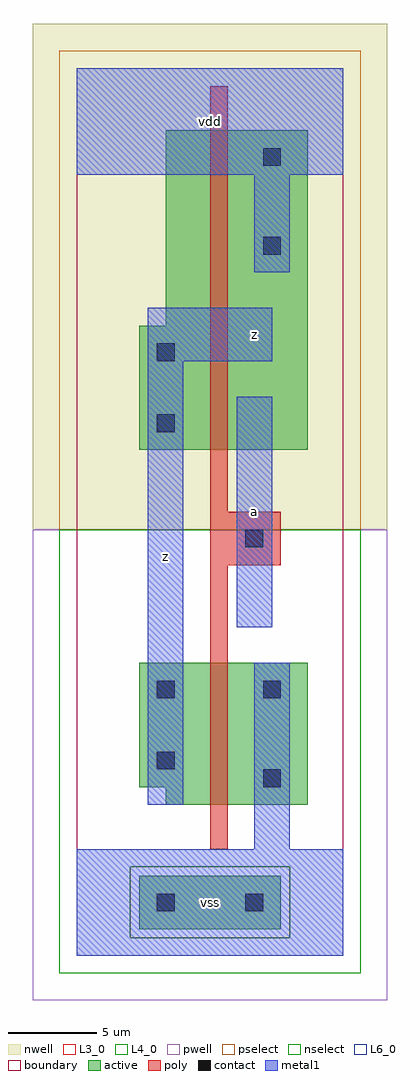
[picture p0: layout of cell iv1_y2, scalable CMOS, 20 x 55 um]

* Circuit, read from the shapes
.subckt iv1_y2 a vdd vss z
M1 vss a z vss nfet w=8u l=1u
M2 vdd a z n1 pfet w=18u l=1u
.ends

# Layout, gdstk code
import gdstk
lib = gdstk.Library(unit=1e-6, precision=1e-09)
def R(c, l, rs):  # rectangles x0, y0, x1, y1
    for r in rs: c.add(gdstk.rectangle(r[:2], r[2:], *l))
L3_0 = (3, 0)
L4_0 = (4, 0)
L6_0 = (6, 0)
contact = (25, 0)
pwell = (41, 0)
nwell = (42, 0)
active = (43, 0)
pselect = (44, 0)
nselect = (45, 0)
poly = (46, 0)
metal1 = (49, 0)
boundary = (63, 0)

iv1_y2 = lib.new_cell('iv1_y2')
R(iv1_y2, L3_0, [(5,8.5,13,9.5), (3.5,9.5,13,16.5)])
R(iv1_y2, L4_0, [(3.5,28.5,13,35.5), (5,35.5,13,46.5)])
R(iv1_y2, L6_0, [(3.5,1.5,11.5,4.5)])
R(iv1_y2, contact, [(4.5,2.5,5.5,3.5), (9.5,2.5,10.5,3.5), (10.5,9.5,11.5,10.5), (4.5,10.5,5.5,11.5), (4.5,14.5,5.5,15.5), (10.5,14.5,11.5,15.5), (9.5,23,10.5,24), (4.5,29.5,5.5,30.5), (4.5,33.5,5.5,34.5), (10.5,39.5,11.5,40.5), (10.5,44.5,11.5,45.5)])
R(iv1_y2, pwell, [(-2.5,-2.5,17.5,24)])
R(iv1_y2, nwell, [(-2.5,24,17.5,52.5)])
R(iv1_y2, active, [(3.5,1.5,11.5,4.5), (5,8.5,13,9.5), (3.5,9.5,13,16.5), (3.5,28.5,13,35.5), (5,35.5,13,46.5)])
R(iv1_y2, pselect, [(3,1,12,5), (-1,24,16,51)])
R(iv1_y2, nselect, [(-1,-1,16,1), (-1,1,3,5), (12,1,16,5), (-1,5,16,24)])
R(iv1_y2, poly, [(7.5,6,8.5,22), (7.5,22,11.5,25), (7.5,25,8.5,49)])
R(iv1_y2, metal1, [(0,0,15,6), (0,0,15,6), (10,6,12,16.5), (10,6,12,16.5), (4,8.5,6,33.5), (4,8.5,6,33.5), (9,18.5,11,31.5), (9,18.5,11,31.5), (4,33.5,11,36.5), (4,33.5,11,36.5), (10,38.5,12,44), (10,38.5,12,44), (0,44,15,50), (0,44,15,50)])
R(iv1_y2, boundary, [(0,0,15,50)])
iv1_y2.add(gdstk.Label('vss', (7.5,3), layer=49, texttype=0))
iv1_y2.add(gdstk.Label('z', (5,22.5), layer=49, texttype=0))
iv1_y2.add(gdstk.Label('vdd', (7.5,47), layer=49, texttype=0))
iv1_y2.add(gdstk.Label('a', (10,25), layer=49, texttype=0))
iv1_y2.add(gdstk.Label('z', (10,35), layer=49, texttype=0))

lib.write_gds('iv1_y2.gds')
